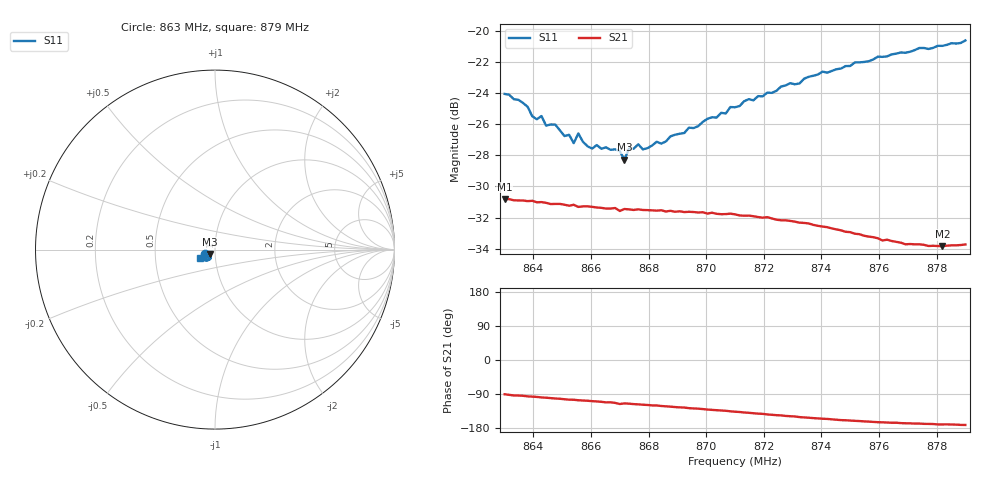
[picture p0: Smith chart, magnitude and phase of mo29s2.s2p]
# HZ S RI R 50
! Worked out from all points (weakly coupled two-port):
!   101 points, 863 MHz to 879 MHz, reference 50 ohm
!   highest |S21| = -30.81 dB at 863 MHz (marker M1); lowest = -33.8 dB at 878.2 MHz (marker M2)
!   lowest |S11| = -28.3 dB at 867.16 MHz (marker M3), VSWR 1.08, Z = 47.1 - j2.33 ohm
!   |S11| at or under -10 dB: start of sweep to end of sweep
!   S12 and S22 are empty: the file has one direction only
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8.63e8  -0.0574 -0.025  -0.000198 -0.0288  0 0  0 0
8.6364e8  -0.0531 -0.0249  -0.00223 -0.0284  0 0  0 0
8.6412e8  -0.0462 -0.0237  -0.00365 -0.0279  0 0  0 0
8.6428e8  -0.047 -0.0249  -0.0043 -0.0278  0 0  0 0
8.6444e8  -0.0435 -0.0238  -0.00462 -0.0276  0 0  0 0
8.6476e8  -0.0436 -0.0244  -0.00559 -0.0272  0 0  0 0
8.654e8  -0.0362 -0.0241  -0.00712 -0.0267  0 0  0 0
8.6556e8  -0.0392 -0.0255  -0.00758 -0.0261  0 0  0 0
8.6572e8  -0.0355 -0.026  -0.00794 -0.0261  0 0  0 0
8.6604e8  -0.0337 -0.0247  -0.00868 -0.0258  0 0  0 0
8.662e8  -0.0334 -0.0269  -0.00897 -0.0255  0 0  0 0
8.67e8  -0.0293 -0.0287  -0.0116 -0.0237  0 0  0 0
8.6716e8  -0.0296 -0.0247  -0.0111 -0.0244  0 0  0 0
8.6732e8  -0.0278 -0.0313  -0.0114 -0.0241  0 0  0 0
8.6764e8  -0.0278 -0.0331  -0.0121 -0.0238  0 0  0 0
8.678e8  -0.0254 -0.0329  -0.0125 -0.0235  0 0  0 0
8.6844e8  -0.0233 -0.0366  -0.0138 -0.0226  0 0  0 0
8.71e8  -0.0268 -0.05  -0.0186 -0.0177  0 0  0 0
8.7372e8  -0.0405 -0.0591  -0.0213 -0.0107  0 0  0 0
8.7644e8  -0.0614 -0.0573  -0.0205 -0.00526  0 0  0 0
8.782e8  -0.0745 -0.0494  -0.02 -0.00354  0 0  0 0
8.79e8  -0.0812 -0.0453  -0.0204 -0.00307  0 0  0 0
